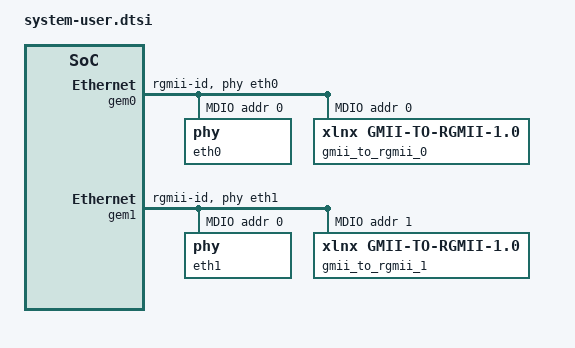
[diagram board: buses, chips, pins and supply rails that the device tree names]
/include/ "system-conf.dtsi"
/ {
	aliases{
		eth0 = &gem0;
		eth1 = &gem1;
	};
};

&gem0{
	phy-handle = <&eth0>;
	phy-mode = "rgmii-id";
	status = "okay";
	gmii2rgmii-phy-handle = <&gmii_to_rgmii_0>;
	ps7_ethernet_0_mdio: mdio{
		#address-cells = <1>;
		#size-cells = <0>;
		eth0: phy@0 {		
                	device_type="ethernet-phy";
			phy-mode = "rgmii-id";
			xlnx,phy-type = <0x5>;
			reg = <0>;
		};
		gmii_to_rgmii_0: gmii_to_rgmii_0@0 {
			compatible = "xlnx,gmii-to-rgmii-1.0";
			phy-handle = <&eth0>;
			reg = <0>;
		};
	};
};

&gem1{
	phy-handle = <&eth1>;
	phy-mode = "rgmii-id";
	status = "okay";
	gmii2rgmii-phy-handle = <&gmii_to_rgmii_1>;
	ps7_ethernet_1_mdio: mdio{
		#address-cells = <1>;
		#size-cells = <0>;
		eth1: phy@0 {		
                	device_type="ethernet-phy";
			phy-mode = "rgmii-id";
			xlnx,phy-type = <0x5>;
			reg = <0>;
		};
		gmii_to_rgmii_1: gmii_to_rgmii_1@0 {
			compatible = "xlnx,gmii-to-rgmii-1.0";
			phy-handle = <&eth1>;
			reg = <1>;
		};
	};
};
